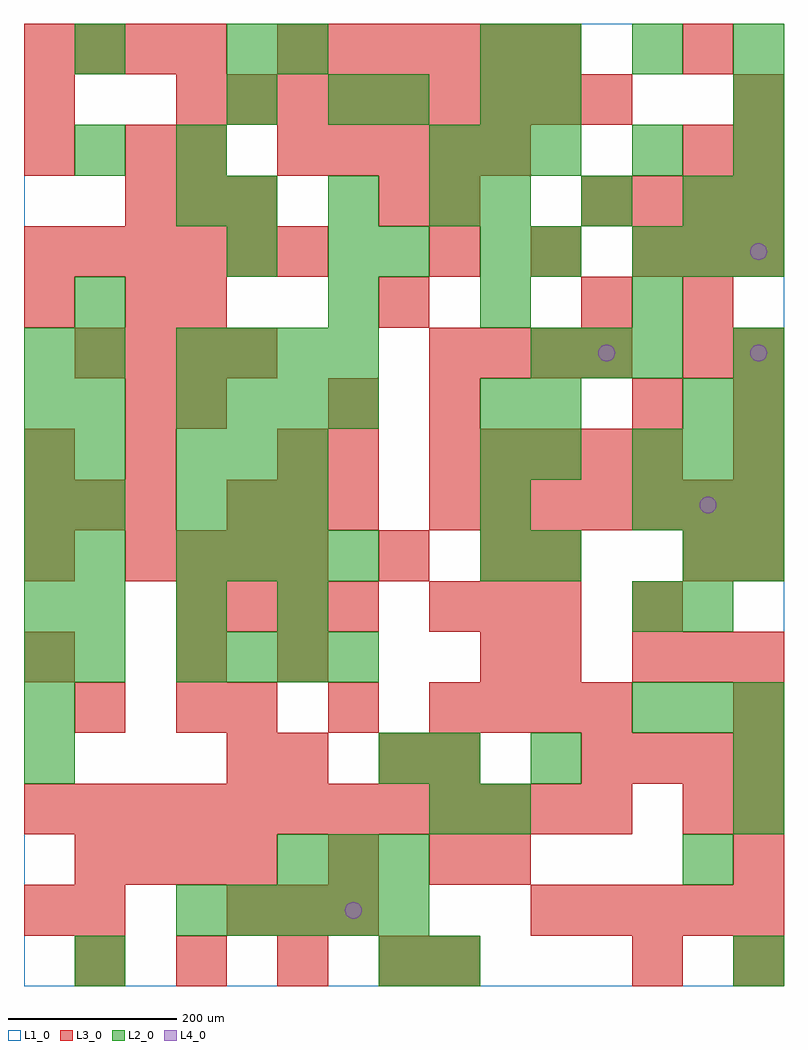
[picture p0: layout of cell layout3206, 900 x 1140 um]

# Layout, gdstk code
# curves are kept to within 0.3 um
import gdstk
lib = gdstk.Library(unit=1e-6, precision=1e-09)
def R(c, l, rs):  # rectangles x0, y0, x1, y1
    for r in rs: c.add(gdstk.rectangle(r[:2], r[2:], *l))
def A(c, l, x, y, w, h, nx, ny, dx, dy):  # array of equal rectangles
    R(c, l, [(x+i*dx, y+j*dy, x+i*dx+w, y+j*dy+h) for i in range(nx) for j in range(ny)])
def P(c, l, *ps):  # polygons
    for p in ps: c.add(gdstk.Polygon(p, *l))
L1_0 = (1, 0)
L2_0 = (2, 0)
L3_0 = (3, 0)
L4_0 = (4, 0)

layout3206 = lib.new_cell('layout3206')
R(layout3206, L1_0, [(0,0,900,1140)])
A(layout3206, L2_0, 180, 60, 60, 60, 5, 1, 60, 0)
A(layout3206, L2_0, 300, 120, 60, 60, 3, 1, 60, 0)
A(layout3206, L2_0, 0, 240, 60, 60, 1, 9, 0, 60)
A(layout3206, L2_0, 720, 300, 60, 60, 3, 2, 60, 240)
A(layout3206, L2_0, 180, 360, 60, 60, 4, 2, 60, 120)
A(layout3206, L2_0, 60, 420, 60, 60, 3, 1, 120, 0)
A(layout3206, L2_0, 60, 480, 60, 60, 1, 6, 0, 60)
A(layout3206, L2_0, 540, 480, 60, 60, 1, 4, 0, 60)
A(layout3206, L2_0, 180, 540, 60, 60, 3, 2, 60, 60)
A(layout3206, L2_0, 720, 600, 60, 60, 3, 2, 60, 240)
A(layout3206, L2_0, 180, 660, 60, 60, 4, 2, 60, 60)
A(layout3206, L2_0, 600, 660, 60, 60, 1, 3, 0, 180)
A(layout3206, L2_0, 600, 720, 60, 60, 3, 1, 60, 0)
A(layout3206, L2_0, 360, 780, 60, 60, 3, 1, 180, 0)
A(layout3206, L2_0, 240, 900, 60, 60, 3, 1, 120, 0)
A(layout3206, L2_0, 540, 900, 60, 60, 3, 1, 120, 0)
A(layout3206, L2_0, 840, 900, 60, 60, 1, 3, 0, 60)
A(layout3206, L2_0, 480, 960, 60, 60, 3, 1, 60, 0)
A(layout3206, L2_0, 600, 1080, 60, 60, 3, 1, 120, 0)
R(layout3206, L2_0, [(60,0,120,60), (420,0,480,60), (480,0,540,60), (840,0,900,60), (780,120,840,180), (480,180,540,240), (540,180,600,240), (840,180,900,240), (420,240,480,300), (480,240,540,300), (600,240,660,300), (840,240,900,300), (60,360,120,420), (720,420,780,480), (780,420,840,480), (600,480,660,540), (780,480,840,540), (840,480,900,540), (600,600,660,660), (780,660,840,720), (840,660,900,720), (840,720,900,780), (240,840,300,900), (360,840,420,900), (420,840,480,900), (540,840,600,900), (180,900,240,960), (60,960,120,1020), (180,960,240,1020), (720,960,780,1020), (240,1020,300,1080), (360,1020,420,1080), (420,1020,480,1080), (540,1020,600,1080), (60,1080,120,1140), (240,1080,300,1140), (300,1080,360,1140), (540,1080,600,1140)])
A(layout3206, L3_0, 60, 0, 60, 60, 4, 1, 120, 0)
A(layout3206, L3_0, 480, 0, 60, 60, 1, 3, 0, 120)
A(layout3206, L3_0, 240, 60, 60, 60, 3, 2, 60, 480)
A(layout3206, L3_0, 600, 60, 60, 60, 5, 1, 60, 0)
A(layout3206, L3_0, 60, 120, 60, 60, 4, 2, 60, 600)
A(layout3206, L3_0, 0, 180, 60, 60, 12, 1, 60, 0)
A(layout3206, L3_0, 660, 240, 60, 60, 4, 2, 60, 660)
A(layout3206, L3_0, 240, 300, 60, 60, 3, 1, 120, 0)
A(layout3206, L3_0, 540, 300, 60, 60, 3, 1, 60, 0)
A(layout3206, L3_0, 0, 360, 60, 60, 1, 3, 0, 120)
A(layout3206, L3_0, 180, 360, 60, 60, 1, 3, 0, 300)
A(layout3206, L3_0, 720, 360, 60, 60, 3, 1, 60, 0)
A(layout3206, L3_0, 180, 420, 60, 60, 4, 1, 60, 0)
A(layout3206, L3_0, 480, 420, 60, 60, 3, 1, 60, 0)
A(layout3206, L3_0, 120, 480, 60, 60, 4, 1, 60, 0)
A(layout3206, L3_0, 0, 540, 60, 60, 3, 1, 60, 0)
A(layout3206, L3_0, 480, 540, 60, 60, 7, 1, 60, 0)
A(layout3206, L3_0, 480, 600, 60, 60, 5, 1, 60, 0)
A(layout3206, L3_0, 840, 600, 60, 60, 1, 3, 0, 60)
A(layout3206, L3_0, 480, 720, 60, 60, 4, 1, 60, 0)
A(layout3206, L3_0, 780, 720, 60, 60, 1, 3, 0, 60)
A(layout3206, L3_0, 180, 780, 60, 60, 3, 1, 240, 0)
A(layout3206, L3_0, 0, 840, 60, 60, 6, 1, 60, 0)
A(layout3206, L3_0, 480, 840, 60, 60, 3, 1, 120, 0)
A(layout3206, L3_0, 120, 900, 60, 60, 3, 1, 60, 0)
A(layout3206, L3_0, 300, 960, 60, 60, 5, 1, 60, 0)
A(layout3206, L3_0, 180, 1020, 60, 60, 9, 1, 60, 0)
A(layout3206, L3_0, 0, 1080, 60, 60, 4, 1, 60, 0)
A(layout3206, L3_0, 300, 1080, 60, 60, 6, 1, 60, 0)
R(layout3206, L3_0, [(720,0,780,60), (840,0,900,60), (0,60,60,120), (60,60,120,120), (360,120,420,180), (540,120,600,180), (840,120,900,180), (780,180,840,240), (840,180,900,240), (240,240,300,300), (300,240,360,300), (420,240,480,300), (60,300,120,360), (180,300,240,360), (840,300,900,360), (300,360,360,420), (540,360,600,420), (600,360,660,420), (720,420,780,480), (420,480,480,540), (540,480,600,540), (600,480,660,540), (780,480,840,540), (840,480,900,540), (120,600,180,660), (300,600,360,660), (360,600,420,660), (120,660,180,720), (360,660,420,720), (480,660,540,720), (720,660,780,720), (0,780,60,840), (120,780,180,840), (840,840,900,900), (420,900,480,960), (480,900,540,960), (0,960,60,1020), (120,960,180,1020), (780,960,840,1020), (840,960,900,1020), (0,1020,60,1080), (840,1020,900,1080), (780,1080,840,1140)])
P(layout3206, L4_0, [(400,90),(399.239,93.827),(397.071,97.071),(393.827,99.239),(390,100),(386.173,99.239),(382.929,97.071),(380.761,93.827),(380,90),(380.761,86.173),(382.929,82.929),(386.173,80.761),(390,80),(393.827,80.761),(397.071,82.929),(399.239,86.173)],
  [(700,750),(699.239,753.827),(697.071,757.071),(693.827,759.239),(690,760),(686.173,759.239),(682.929,757.071),(680.761,753.827),(680,750),(680.761,746.173),(682.929,742.929),(686.173,740.761),(690,740),(693.827,740.761),(697.071,742.929),(699.239,746.173)],
  [(820,570),(819.239,573.827),(817.071,577.071),(813.827,579.239),(810,580),(806.173,579.239),(802.929,577.071),(800.761,573.827),(800,570),(800.761,566.173),(802.929,562.929),(806.173,560.761),(810,560),(813.827,560.761),(817.071,562.929),(819.239,566.173)],
  [(880,750),(879.239,753.827),(877.071,757.071),(873.827,759.239),(870,760),(866.173,759.239),(862.929,757.071),(860.761,753.827),(860,750),(860.761,746.173),(862.929,742.929),(866.173,740.761),(870,740),(873.827,740.761),(877.071,742.929),(879.239,746.173)],
  [(880,870),(879.239,873.827),(877.071,877.071),(873.827,879.239),(870,880),(866.173,879.239),(862.929,877.071),(860.761,873.827),(860,870),(860.761,866.173),(862.929,862.929),(866.173,860.761),(870,860),(873.827,860.761),(877.071,862.929),(879.239,866.173)])

lib.write_gds('layout3206.gds')
